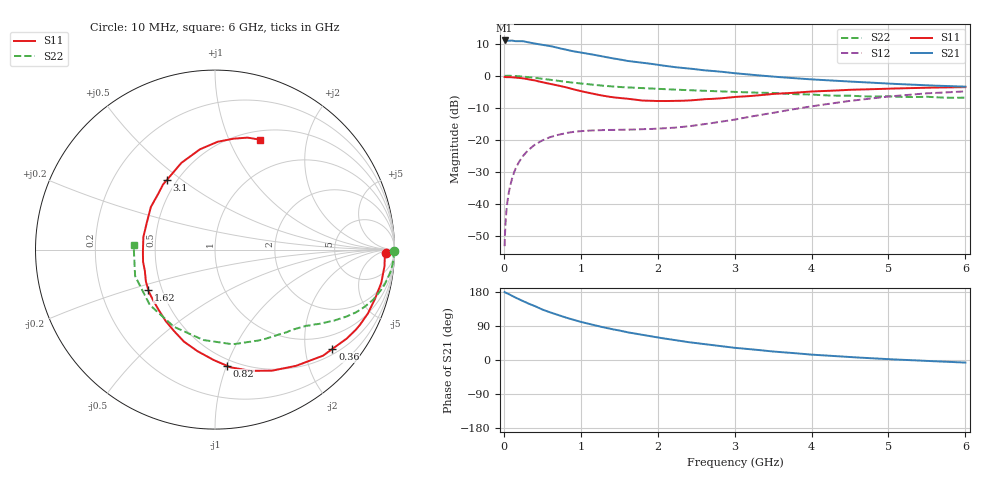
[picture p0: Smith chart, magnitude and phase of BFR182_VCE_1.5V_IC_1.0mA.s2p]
! Infineon Technologies  Discrete & RF Semiconductors
! BFR182
! VCE =  1.5 V,  IC =  1.0 mA
! Common Emitter S-Parameters:  Nov 2015
# GHz  S  MA  R  50
!  f  S11  S21  S12  S22
! GHz  MAG  ANG  MAG  ANG  MAG  ANG  MAG  ANG
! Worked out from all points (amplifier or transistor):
!   210 points, 10 MHz to 6 GHz, reference 50 ohm
!   highest |S21| = 11.0 dB at 10 MHz (marker M1)
!   |S21| within 3 dB of that: start of sweep to 829.7 MHz
!   unconditionally stable (mu >= 1): 1.759 GHz to 3.349 GHz
!   at 185 MHz: K = 0.12, MSG = 19.1 dB, |S12| = -27.4 dB
!   at 1.52 GHz: K = 0.89, MSG = 10.9 dB, |S12| = -16.9 dB
!   at 6 GHz: K = 0.96, MSG = 0.7 dB, |S12| = -4.9 dB
!   S11 on the Smith chart (normalised r, x): 10 MHz: 34, -17; 360 MHz: 0.63, -2.60; 820 MHz: 0.45, -1.01; 1.62 GHz: 0.42, -0.23; 3.1 GHz: 0.44, +0.44; 6 GHz: 0.60, +1.30
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0.01  0.9539 -1.3  3.529 179.4  0.0022 90.7  0.9983 -0.5
0.02  0.9469 -2.3  3.479 178.0  0.0046 89.7  0.9905 -1.0
0.04  0.9479 -4.5  3.479 176.2  0.0093 86.7  0.9942 -1.9
0.06  0.9473 -6.7  3.488 174.3  0.014 84.9  0.9953 -2.9
0.1  0.9448 -11.3  3.527 170.5  0.0232 82.6  0.9929 -4.7
0.155  0.9315 -17.6  3.44 164.3  0.036 78.7  0.9847 -7.4
0.24  0.9096 -27.5  3.44 156.3  0.054 72.9  0.9674 -11.1
0.3  0.8853 -34.1  3.333 150.5  0.0655 69.6  0.9518 -13.7
0.36  0.8567 -40.2  3.227 145.9  0.0761 65.5  0.9352 -16.0
0.5  0.79 -55.0  3.03 133.2  0.0977 58.3  0.8928 -20.9
0.6  0.7457 -64.8  2.895 125.8  0.1098 53.4  0.8597 -24.0
0.82  0.6514 -84.0  2.513 111.2  0.128 45.2  0.7943 -29.0
1.02  0.5666 -101.5  2.274 99.6  0.1368 40.3  0.7472 -32.6
1.3  0.4847 -124.3  1.977 86.0  0.1423 36.6  0.6942 -36.9
1.62  0.434 -148.9  1.686 72.7  0.144 36.3  0.6536 -41.0
2.02  0.4015 -179.1  1.463 58.7  0.1498 40.5  0.6189 -46.4
2.4  0.4095 157.5  1.297 47.1  0.1621 46.6  0.5927 -52.8
3.1  0.4712 124.8  1.062 30.4  0.2175 53.8  0.5521 -67.9
4.1  0.5709 96.4  0.859 13.0  0.3459 50.0  0.4986 -101.2
5.1  0.6305 79.1  0.741 1.2  0.4827 35.9  0.4694 -144.0
5.5  0.6497 73.8  0.705 -2.4  0.5296 29.2  0.4688 -161.7
6  0.6614 67.9  0.673 -6.9  0.5684 19.9  0.4539 177.0
